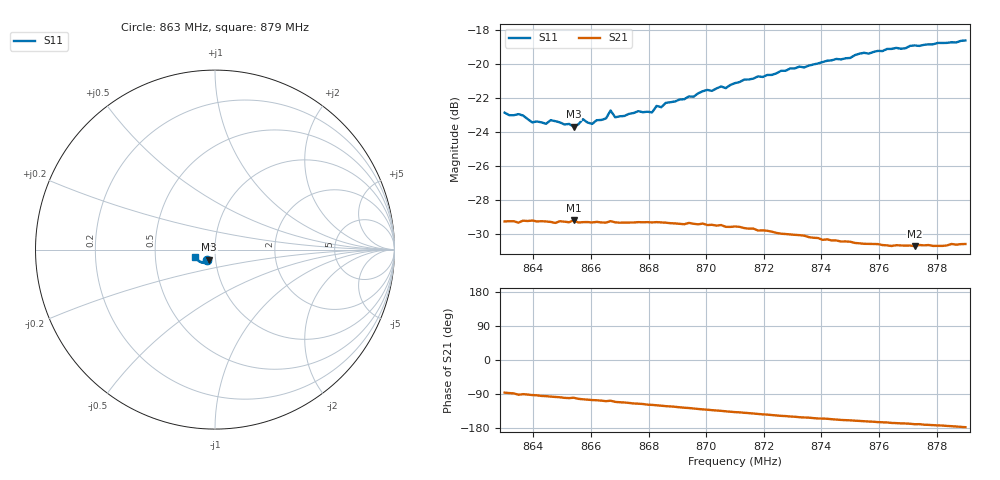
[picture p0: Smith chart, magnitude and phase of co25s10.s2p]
# HZ S RI R 50
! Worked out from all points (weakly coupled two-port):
!   101 points, 863 MHz to 879 MHz, reference 50 ohm
!   highest |S21| = -29.18 dB at 865.4 MHz (marker M1); lowest = -30.7 dB at 877.24 MHz (marker M2)
!   lowest |S11| = -23.7 dB at 865.4 MHz (marker M3), VSWR 1.14, Z = 46.5 - j5.24 ohm
!   |S11| at or under -10 dB: start of sweep to end of sweep
!   S12 and S22 are empty: the file has one direction only
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8.63e8  -0.0463 -0.0552  0.00236 -0.0344  0 0  0 0
8.6364e8  -0.0444 -0.055  -8.8e-05 -0.0347  0 0  0 0
8.6396e8  -0.0411 -0.0535  -0.00155 -0.0347  0 0  0 0
8.6444e8  -0.0391 -0.0542  -0.00322 -0.0343  0 0  0 0
8.646e8  -0.0395 -0.0559  -0.00397 -0.0341  0 0  0 0
8.654e8  -0.0336 -0.0562  -0.00579 -0.0343  0 0  0 0
8.6572e8  -0.0366 -0.0584  -0.00809 -0.0333  0 0  0 0
8.6604e8  -0.0351 -0.0568  -0.00927 -0.033  0 0  0 0
8.6652e8  -0.0352 -0.0596  -0.0109 -0.0324  0 0  0 0
8.6668e8  -0.0395 -0.0615  -0.0103 -0.033  0 0  0 0
8.6684e8  -0.036 -0.0598  -0.012 -0.0321  0 0  0 0
8.6764e8  -0.0375 -0.0623  -0.0147 -0.031  0 0  0 0
8.6812e8  -0.0348 -0.0632  -0.0164 -0.0301  0 0  0 0
8.6828e8  -0.0366 -0.0659  -0.0169 -0.0299  0 0  0 0
8.6844e8  -0.037 -0.0649  -0.0175 -0.0295  0 0  0 0
8.686e8  -0.037 -0.0675  -0.018 -0.029  0 0  0 0
8.7068e8  -0.046 -0.0715  -0.0237 -0.0233  0 0  0 0
8.71e8  -0.0492 -0.073  -0.0246 -0.0225  0 0  0 0
8.7372e8  -0.0675 -0.0735  -0.0276 -0.0139  0 0  0 0
8.7644e8  -0.0921 -0.0619  -0.0283 -0.00702  0 0  0 0
8.7724e8  -0.0988 -0.0561  -0.0287 -0.00535  0 0  0 0
8.79e8  -0.1108 -0.0391  -0.0296 -0.00141  0 0  0 0
